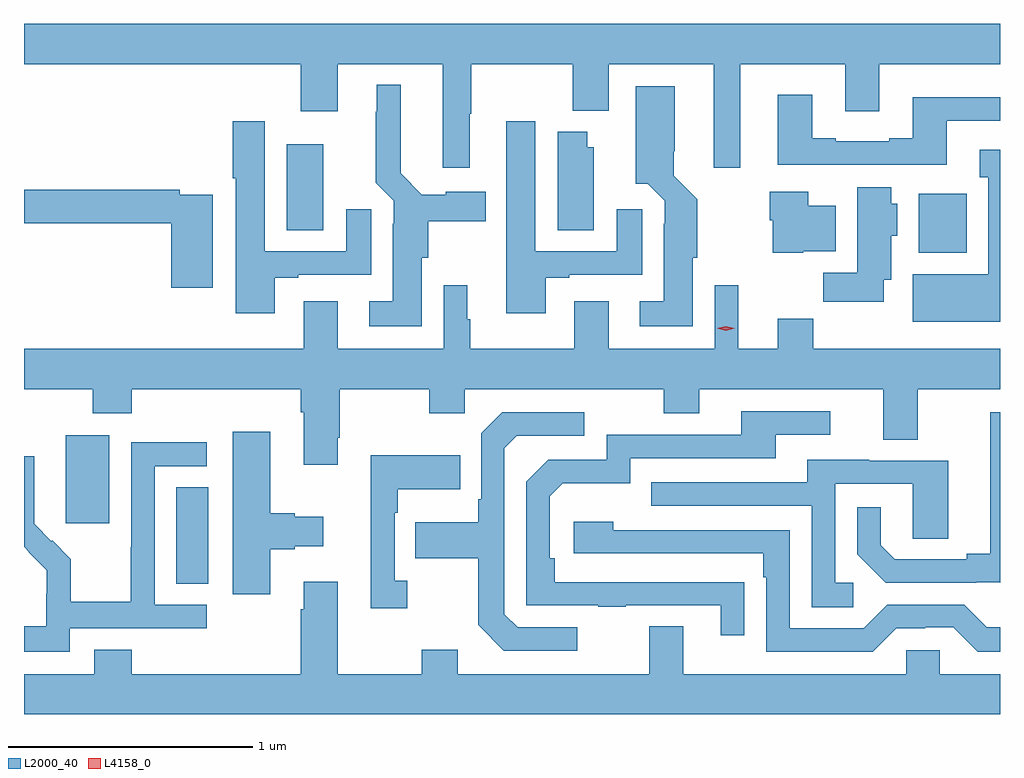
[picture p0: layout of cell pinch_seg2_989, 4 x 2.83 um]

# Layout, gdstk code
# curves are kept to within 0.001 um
import gdstk
lib = gdstk.Library(unit=1e-6, precision=1e-09)
def R(c, l, rs):  # rectangles x0, y0, x1, y1
    for r in rs: c.add(gdstk.rectangle(r[:2], r[2:], *l))
def P(c, l, *ps):  # polygons
    for p in ps: c.add(gdstk.Polygon(p, *l))
L2000_40 = (2000, 40)
L4158_0 = (4158, 0)

pinch_seg2_989 = lib.new_cell('pinch_seg2_989')
R(pinch_seg2_989, L2000_40, [(154.031,608.209,154.162,608.606), (153.578,608.457,153.757,608.818), (157.073,609.566,157.27,609.808), (154.484,609.658,154.633,610.012)])
P(pinch_seg2_989, L2000_40, [(155.233,610.136),(155.241,610.136),(155.241,610.34),(155.656,610.34),(155.656,610.148),(155.803,610.148),(155.803,610.34),(156.233,610.34),(156.233,609.915),(156.343,609.915),(156.343,610.34),(156.773,610.34),(156.773,610.146),(156.913,610.146),(156.913,610.34),(157.407,610.34),(157.407,610.504),(153.407,610.504),(153.407,610.34),(154.541,610.34),(154.541,610.146),(154.693,610.146),(154.693,610.34),(155.123,610.34),(155.123,609.915),(155.233,609.915)],
  [(155.038,609.546),(155.064,609.546),(155.064,609.695),(155.299,609.695),(155.299,609.817),(155.136,609.817),(155.136,609.805),(155.037,609.805),(154.951,609.892),(154.951,610.255),(154.853,610.255),(154.853,610.145),(154.849,610.145),(154.849,609.854),(154.923,609.78),(154.923,609.686),(154.919,609.686),(154.919,609.367),(154.821,609.367),(154.821,609.266),(155.038,609.266)],
  [(156.148,609.546),(156.166,609.546),(156.166,609.786),(156.069,609.883),(156.069,609.982),(156.073,609.982),(156.073,610.249),(155.915,610.249),(155.915,609.85),(155.963,609.85),(156.033,609.78),(156.033,609.686),(156.029,609.686),(156.029,609.367),(155.931,609.367),(155.931,609.266),(156.148,609.266)],
  [(157.189,610.107),(157.407,610.107),(157.407,610.204),(157.049,610.204),(157.049,610.036),(156.953,610.036),(156.953,610.023),(156.733,610.023),(156.733,610.036),(156.637,610.036),(156.637,610.213),(156.497,610.213),(156.497,609.927),(157.189,609.927)],
  [(154.435,609.465),(154.531,609.465),(154.531,609.477),(154.831,609.477),(154.831,609.745),(154.727,609.745),(154.727,609.573),(154.393,609.573),(154.393,610.105),(154.262,610.105),(154.262,609.871),(154.274,609.871),(154.274,609.318),(154.435,609.318)],
  [(155.545,609.465),(155.641,609.465),(155.641,609.477),(155.941,609.477),(155.941,609.745),(155.837,609.745),(155.837,609.573),(155.503,609.573),(155.503,610.105),(155.384,610.105),(155.384,609.318),(155.545,609.318)],
  [(155.743,609.999),(155.716,609.999),(155.716,610.063),(155.594,610.063),(155.594,609.658),(155.743,609.658)],
  [(157.407,609.988),(157.325,609.988),(157.325,609.875),(157.358,609.875),(157.358,609.478),(157.049,609.478),(157.049,609.284),(157.407,609.284)],
  [(156.931,609.455),(156.961,609.455),(156.961,609.636),(156.985,609.636),(156.985,609.768),(156.961,609.768),(156.961,609.835),(156.821,609.835),(156.821,609.484),(156.682,609.484),(156.682,609.366),(156.931,609.366)],
  [(154.18,609.804),(154.046,609.804),(154.046,609.824),(153.407,609.824),(153.407,609.688),(154.01,609.688),(154.01,609.423),(154.18,609.423)],
  [(156.6,609.572),(156.733,609.572),(156.733,609.76),(156.622,609.76),(156.622,609.817),(156.464,609.817),(156.464,609.699),(156.475,609.699),(156.475,609.566),(156.6,609.566)],
  [(154.693,609.367),(154.553,609.367),(154.553,609.172),(153.407,609.172),(153.407,609.008),(153.688,609.008),(153.688,608.909),(153.848,608.909),(153.848,609.008),(154.541,609.008),(154.541,608.912),(154.553,608.912),(154.553,608.697),(154.693,608.697),(154.693,608.809),(154.701,608.809),(154.701,609.008),(155.068,609.008),(155.068,608.909),(155.214,608.909),(155.214,609.008),(156.028,609.008),(156.028,608.909),(156.175,608.909),(156.175,609.008),(156.929,609.008),(156.929,608.8),(157.069,608.8),(157.069,609.008),(157.407,609.008),(157.407,609.172),(156.641,609.172),(156.641,609.296),(156.497,609.296),(156.497,609.172),(156.334,609.172),(156.334,609.433),(156.237,609.433),(156.237,609.172),(155.803,609.172),(155.803,609.367),(155.663,609.367),(155.663,609.172),(155.236,609.172),(155.236,609.294),(155.224,609.294),(155.224,609.433),(155.127,609.433),(155.127,609.172),(154.693,609.172)],
  [(156.359,608.216),(155.582,608.217),(155.582,608.314),(155.562,608.314),(155.562,608.568),(155.615,608.621),(155.892,608.621),(155.892,608.724),(156.487,608.724),(156.487,608.82),(156.712,608.82),(156.712,608.916),(156.347,608.916),(156.347,608.82),(155.796,608.82),(155.796,608.718),(155.556,608.718),(155.466,608.628),(155.466,608.121),(155.761,608.121),(155.761,608.116),(155.873,608.116),(155.873,608.121),(156.263,608.121),(156.263,607.998),(156.359,607.998)],
  [(157.31,608.217),(157.404,608.217),(157.407,608.214),(157.407,608.913),(157.367,608.913),(157.367,608.333),(157.271,608.333),(157.271,608.31),(156.976,608.31),(156.919,608.367),(156.919,608.524),(156.822,608.524),(156.822,608.33),(156.938,608.214),(157.31,608.214)],
  [(155.674,608.031),(155.43,608.031),(155.376,608.085),(155.376,608.766),(155.427,608.817),(155.704,608.817),(155.704,608.913),(155.367,608.913),(155.28,608.826),(155.28,608.557),(155.268,608.557),(155.268,608.461),(155.011,608.461),(155.011,608.314),(155.268,608.314),(155.268,608.041),(155.373,607.935),(155.674,607.935)],
  [(154.417,608.351),(154.517,608.351),(154.517,608.363),(154.633,608.363),(154.633,608.485),(154.517,608.485),(154.517,608.498),(154.417,608.498),(154.417,608.833),(154.262,608.833),(154.262,608.166),(154.417,608.166)],
  [(153.594,608.028),(154.156,608.028),(154.156,608.124),(153.942,608.124),(153.942,608.691),(154.156,608.691),(154.156,608.79),(153.846,608.79),(153.846,608.36),(153.844,608.36),(153.844,608.137),(153.599,608.137),(153.599,608.311),(153.522,608.388),(153.519,608.385),(153.449,608.456),(153.45,608.732),(153.407,608.732),(153.407,608.361),(153.427,608.341),(153.426,608.34),(153.5,608.266),(153.5,608.169),(153.498,608.169),(153.498,608.035),(153.407,608.035),(153.407,607.931),(153.594,607.931)],
  [(154.978,608.222),(154.926,608.222),(154.926,608.501),(154.939,608.501),(154.939,608.597),(155.195,608.597),(155.195,608.737),(154.829,608.737),(154.829,608.109),(154.978,608.109)],
  [(156.805,608.214),(156.732,608.214),(156.732,608.619),(157.05,608.619),(157.05,608.395),(157.195,608.395),(157.195,608.715),(156.871,608.715),(156.871,608.719),(156.617,608.719),(156.617,608.625),(155.977,608.625),(155.977,608.529),(156.636,608.529),(156.636,608.113),(156.805,608.113)],
  [(157.407,608.031),(157.353,608.031),(157.26,608.124),(156.945,608.124),(156.849,608.028),(156.546,608.028),(156.546,608.43),(155.822,608.43),(155.822,608.464),(155.661,608.464),(155.661,608.334),(156.437,608.334),(156.437,608.237),(156.45,608.237),(156.45,607.932),(156.885,607.932),(156.981,608.028),(157.1,608.028),(157.1,608.031),(157.215,608.031),(157.315,607.931),(157.407,607.931)],
  [(157.407,607.84),(157.161,607.84),(157.161,607.938),(157.023,607.938),(157.023,607.84),(156.109,607.84),(156.109,608.035),(155.969,608.035),(155.969,607.84),(155.185,607.84),(155.185,607.939),(155.038,607.939),(155.038,607.84),(154.693,607.84),(154.693,608.218),(154.553,608.218),(154.553,608.105),(154.541,608.105),(154.541,607.84),(153.848,607.84),(153.848,607.939),(153.695,607.939),(153.695,607.84),(153.407,607.84),(153.407,607.676),(157.407,607.676)])
P(pinch_seg2_989, L4158_0, [(156.284,609.246),(156.249,609.256),(156.248,609.256),(156.249,609.256),(156.284,609.266),(156.32,609.256),(156.32,609.256),(156.32,609.256)])

lib.write_gds('pinch_seg2_989.gds')
